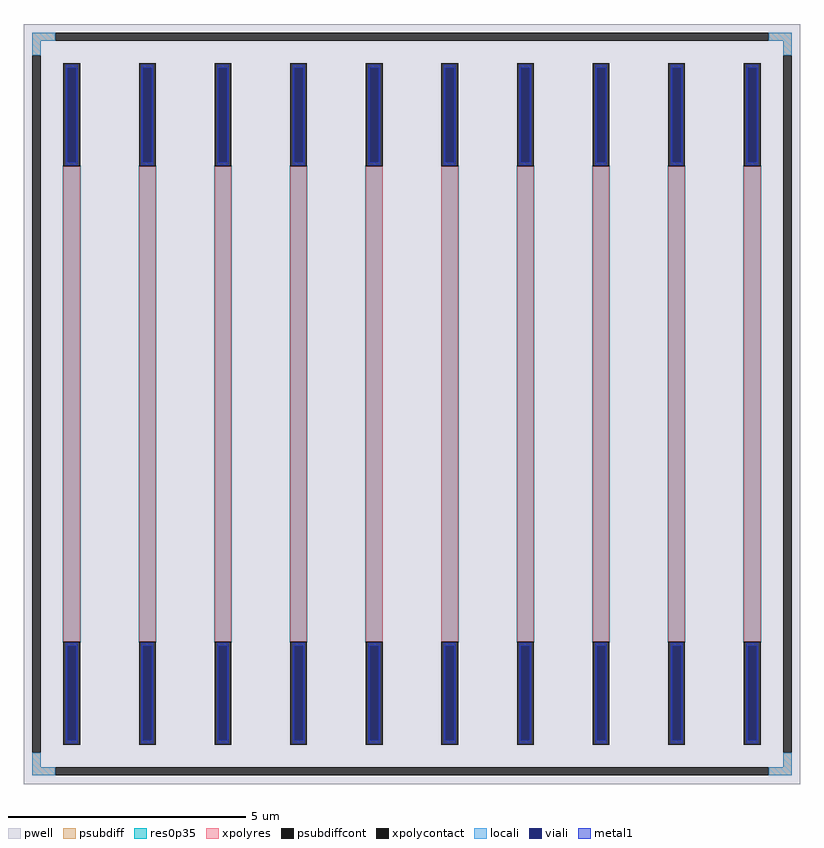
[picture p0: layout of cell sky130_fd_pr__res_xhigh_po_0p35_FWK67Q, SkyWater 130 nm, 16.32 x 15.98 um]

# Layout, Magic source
magic
tech sky130A
magscale 1 2
<< pwell >>
rect -1632 -1598 1632 1598
<< psubdiff >>
rect -1596 1528 -1500 1562
rect 1500 1528 1596 1562
rect -1596 1466 -1562 1528
rect 1562 1466 1596 1528
rect -1596 -1528 -1562 -1466
rect 1562 -1528 1596 -1466
rect -1596 -1562 -1500 -1528
rect 1500 -1562 1596 -1528
<< psubdiffcont >>
rect -1500 1528 1500 1562
rect -1596 -1466 -1562 1466
rect 1562 -1466 1596 1466
rect -1500 -1562 1500 -1528
<< xpolycontact >>
rect -1466 1000 -1396 1432
rect -1466 -1432 -1396 -1000
rect -1148 1000 -1078 1432
rect -1148 -1432 -1078 -1000
rect -830 1000 -760 1432
rect -830 -1432 -760 -1000
rect -512 1000 -442 1432
rect -512 -1432 -442 -1000
rect -194 1000 -124 1432
rect -194 -1432 -124 -1000
rect 124 1000 194 1432
rect 124 -1432 194 -1000
rect 442 1000 512 1432
rect 442 -1432 512 -1000
rect 760 1000 830 1432
rect 760 -1432 830 -1000
rect 1078 1000 1148 1432
rect 1078 -1432 1148 -1000
rect 1396 1000 1466 1432
rect 1396 -1432 1466 -1000
<< xpolyres >>
rect -1466 -1000 -1396 1000
rect -1148 -1000 -1078 1000
rect -830 -1000 -760 1000
rect -512 -1000 -442 1000
rect -194 -1000 -124 1000
rect 124 -1000 194 1000
rect 442 -1000 512 1000
rect 760 -1000 830 1000
rect 1078 -1000 1148 1000
rect 1396 -1000 1466 1000
<< locali >>
rect -1596 1528 -1500 1562
rect 1500 1528 1596 1562
rect -1596 1466 -1562 1528
rect 1562 1466 1596 1528
rect -1596 -1528 -1562 -1466
rect 1562 -1528 1596 -1466
rect -1596 -1562 -1500 -1528
rect 1500 -1562 1596 -1528
<< viali >>
rect -1450 1017 -1412 1414
rect -1132 1017 -1094 1414
rect -814 1017 -776 1414
rect -496 1017 -458 1414
rect -178 1017 -140 1414
rect 140 1017 178 1414
rect 458 1017 496 1414
rect 776 1017 814 1414
rect 1094 1017 1132 1414
rect 1412 1017 1450 1414
rect -1450 -1414 -1412 -1017
rect -1132 -1414 -1094 -1017
rect -814 -1414 -776 -1017
rect -496 -1414 -458 -1017
rect -178 -1414 -140 -1017
rect 140 -1414 178 -1017
rect 458 -1414 496 -1017
rect 776 -1414 814 -1017
rect 1094 -1414 1132 -1017
rect 1412 -1414 1450 -1017
<< metal1 >>
rect -1456 1414 -1406 1426
rect -1456 1017 -1450 1414
rect -1412 1017 -1406 1414
rect -1456 1005 -1406 1017
rect -1138 1414 -1088 1426
rect -1138 1017 -1132 1414
rect -1094 1017 -1088 1414
rect -1138 1005 -1088 1017
rect -820 1414 -770 1426
rect -820 1017 -814 1414
rect -776 1017 -770 1414
rect -820 1005 -770 1017
rect -502 1414 -452 1426
rect -502 1017 -496 1414
rect -458 1017 -452 1414
rect -502 1005 -452 1017
rect -184 1414 -134 1426
rect -184 1017 -178 1414
rect -140 1017 -134 1414
rect -184 1005 -134 1017
rect 134 1414 184 1426
rect 134 1017 140 1414
rect 178 1017 184 1414
rect 134 1005 184 1017
rect 452 1414 502 1426
rect 452 1017 458 1414
rect 496 1017 502 1414
rect 452 1005 502 1017
rect 770 1414 820 1426
rect 770 1017 776 1414
rect 814 1017 820 1414
rect 770 1005 820 1017
rect 1088 1414 1138 1426
rect 1088 1017 1094 1414
rect 1132 1017 1138 1414
rect 1088 1005 1138 1017
rect 1406 1414 1456 1426
rect 1406 1017 1412 1414
rect 1450 1017 1456 1414
rect 1406 1005 1456 1017
rect -1456 -1017 -1406 -1005
rect -1456 -1414 -1450 -1017
rect -1412 -1414 -1406 -1017
rect -1456 -1426 -1406 -1414
rect -1138 -1017 -1088 -1005
rect -1138 -1414 -1132 -1017
rect -1094 -1414 -1088 -1017
rect -1138 -1426 -1088 -1414
rect -820 -1017 -770 -1005
rect -820 -1414 -814 -1017
rect -776 -1414 -770 -1017
rect -820 -1426 -770 -1414
rect -502 -1017 -452 -1005
rect -502 -1414 -496 -1017
rect -458 -1414 -452 -1017
rect -502 -1426 -452 -1414
rect -184 -1017 -134 -1005
rect -184 -1414 -178 -1017
rect -140 -1414 -134 -1017
rect -184 -1426 -134 -1414
rect 134 -1017 184 -1005
rect 134 -1414 140 -1017
rect 178 -1414 184 -1017
rect 134 -1426 184 -1414
rect 452 -1017 502 -1005
rect 452 -1414 458 -1017
rect 496 -1414 502 -1017
rect 452 -1426 502 -1414
rect 770 -1017 820 -1005
rect 770 -1414 776 -1017
rect 814 -1414 820 -1017
rect 770 -1426 820 -1414
rect 1088 -1017 1138 -1005
rect 1088 -1414 1094 -1017
rect 1132 -1414 1138 -1017
rect 1088 -1426 1138 -1414
rect 1406 -1017 1456 -1005
rect 1406 -1414 1412 -1017
rect 1450 -1414 1456 -1017
rect 1406 -1426 1456 -1414
<< res0p35 >>
rect -1468 -1002 -1394 1002
rect -1150 -1002 -1076 1002
rect -832 -1002 -758 1002
rect -514 -1002 -440 1002
rect -196 -1002 -122 1002
rect 122 -1002 196 1002
rect 440 -1002 514 1002
rect 758 -1002 832 1002
rect 1076 -1002 1150 1002
rect 1394 -1002 1468 1002
<< properties >>
string FIXED_BBOX -1579 -1545 1579 1545
string gencell sky130_fd_pr__res_xhigh_po_0p35
string library sky130
string parameters w 0.350 l 10 m 1 nx 10 wmin 0.350 lmin 0.50 rho 2000 val 58.218k dummy 0 dw 0.0 term 188.2 sterm 0.0 caplen 0 wmax 0.350 guard 1 glc 1 grc 1 gtc 1 gbc 1 compatible {sky130_fd_pr__res_xhigh_po_0p35  sky130_fd_pr__res_xhigh_po_0p69 sky130_fd_pr__res_xhigh_po_1p41  sky130_fd_pr__res_xhigh_po_2p85 sky130_fd_pr__res_xhigh_po_5p73} full_metal 1 n_guard 0 hv_guard 0 vias 1 viagb 0 viagt 0 viagl 0 viagr 0
<< end >>
